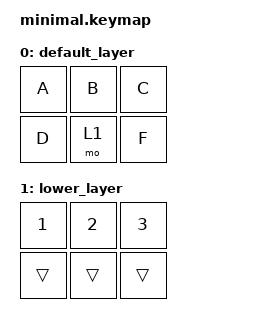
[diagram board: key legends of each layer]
#include <behaviors.dtsi>
#include <dt-bindings/zmk/keys.h>

/ {
	keymap {
		compatible = "zmk,keymap";

		default_layer {
			bindings = <
				&kp A &kp B &kp C
				&kp D &mo 1 &kp F
			>;
		};

		lower_layer {
			bindings = <
				&kp N1 &kp N2 &kp N3
				&trans &trans &trans
			>;
		};
	};
};
